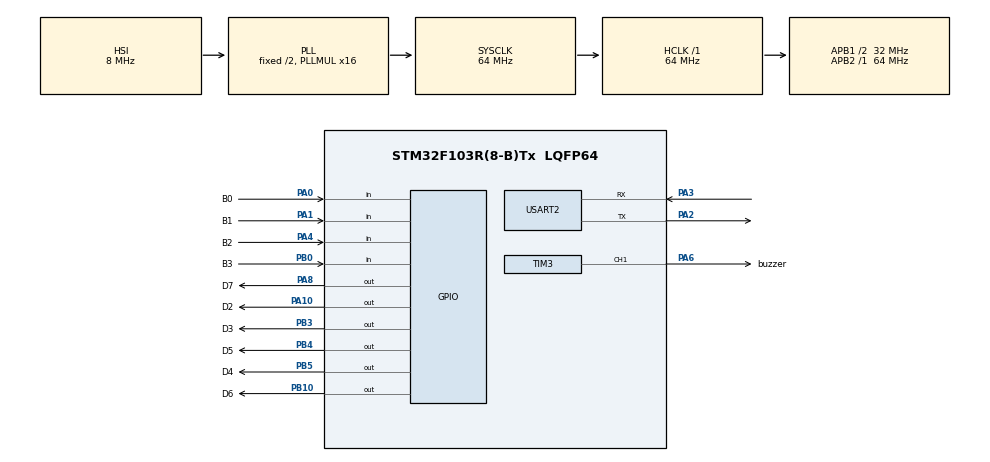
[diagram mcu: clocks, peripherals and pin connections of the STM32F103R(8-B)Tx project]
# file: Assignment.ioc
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Mcu.Family=STM32F1
Mcu.Name=STM32F103R(8-B)Tx
Mcu.Package=LQFP64
NVIC.PriorityGroup=NVIC_PRIORITYGROUP_4
NVIC.TIM2_IRQn=true\:0\:0\:false\:false\:true\:true\:true\:true
PA0-WKUP.GPIO_Label=B0
PA0-WKUP.GPIO_PuPd=GPIO_PULLUP
PA0-WKUP.Signal=GPIO_Input
PA1.GPIO_Label=B1
PA1.GPIO_PuPd=GPIO_PULLUP
PA1.Signal=GPIO_Input
PA10.GPIO_Label=D2
PA10.Signal=GPIO_Output
PA13.Mode=Serial_Wire
PA13.Signal=SYS_JTMS-SWDIO
PA14.Mode=Serial_Wire
PA14.Signal=SYS_JTCK-SWCLK
PA2.Mode=Asynchronous
PA2.Signal=USART2_TX
PA3.Mode=Asynchronous
PA3.Signal=USART2_RX
PA4.GPIO_Label=B2
PA4.GPIO_PuPd=GPIO_PULLUP
PA4.Signal=GPIO_Input
PA6.GPIO_Label=buzzer
PA6.Signal=S_TIM3_CH1
PA8.GPIO_Label=D7
PA8.Signal=GPIO_Output
PB0.GPIO_Label=B3
PB0.GPIO_PuPd=GPIO_PULLUP
PB0.Signal=GPIO_Input
PB10.GPIO_Label=D6
PB10.Signal=GPIO_Output
PB3.GPIO_Label=D3
PB3.Signal=GPIO_Output
PB4.GPIO_Label=D5
PB4.Signal=GPIO_Output
PB5.GPIO_Label=D4
PB5.Signal=GPIO_Output
ProjectManager.HeapSize=0x200
ProjectManager.StackSize=0x400
ProjectManager.TargetToolchain=STM32CubeIDE
RCC.AHBFreq_Value=64000000
RCC.APB1CLKDivider=RCC_HCLK_DIV2
RCC.APB1Freq_Value=32000000
RCC.APB1TimFreq_Value=64000000
RCC.APB2Freq_Value=64000000
RCC.APB2TimFreq_Value=64000000
RCC.HCLKFreq_Value=64000000
RCC.PLLMUL=RCC_PLL_MUL16
RCC.SYSCLKFreq_VALUE=64000000
RCC.SYSCLKSource=RCC_SYSCLKSOURCE_PLLCLK
RCC.USBFreq_Value=64000000
SH.S_TIM3_CH1.0=TIM3_CH1,PWM Generation1 CH1
TIM2.Period=9
TIM2.Prescaler=63999
TIM3.Channel-PWM\ Generation1\ CH1=TIM_CHANNEL_1
TIM3.Period=999
TIM3.Prescaler=63
USART2.VirtualMode=VM_ASYNC
VP_TIM2_VS_ClockSourceINT.Mode=Internal
VP_TIM3_VS_ClockSourceINT.Mode=Internal
board=custom

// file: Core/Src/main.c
/* USER CODE BEGIN Header */
/**
  ******************************************************************************
  * @file           : main.c
  * @brief          : Main program body
  ******************************************************************************
  * @attention
  *
  * <h2><center>&copy; Copyright (c) 2022 STMicroelectronics.
  * All rights reserved.</center></h2>
  *
  * This software component is licensed by ST under BSD 3-Clause license,
  * the "License"; You may not use this file except in compliance with the
  * License. You may obtain a copy of the License at:
  *                        opensource.org/licenses/BSD-3-Clause
  *
  ******************************************************************************
  */
/* USER CODE END Header */
#include "main.h"

/* USER CODE BEGIN Includes */
#include "software_timer.h"
#include "button.h"
#include "led_color.h"
#include "global.h"
#include "fsm_automatic.h"
#include "fsm_manual.h"
#include "fsm_setTime.h"
/* USER CODE END Includes */

TIM_HandleTypeDef htim2;
TIM_HandleTypeDef htim3;

UART_HandleTypeDef huart2;

void SystemClock_Config(void);
static void MX_GPIO_Init(void);
static void MX_TIM3_Init(void);
static void MX_TIM2_Init(void);
static void MX_USART2_UART_Init(void);

/* USER CODE BEGIN 0 */
void test_IO(){
	HAL_GPIO_WritePin(D2_GPIO_Port, D2_Pin,
			HAL_GPIO_ReadPin(B1_GPIO_Port, B1_Pin));

	HAL_GPIO_WritePin(D4_GPIO_Port, D4_Pin,
				HAL_GPIO_ReadPin(B2_GPIO_Port, B2_Pin));

	HAL_GPIO_WritePin(D6_GPIO_Port, D6_Pin,
				HAL_GPIO_ReadPin(B3_GPIO_Port, B3_Pin));

	if((HAL_GPIO_ReadPin(B0_GPIO_Port, B0_Pin)) == 1){
		__HAL_TIM_SetCompare(&htim3, TIM_CHANNEL_1, 10);
		HAL_Delay(1000);
		__HAL_TIM_SetCompare(&htim3, TIM_CHANNEL_1, 100);
//		HAL_Delay(1000);
	}
}
void buzzer()
{
	__HAL_TIM_SetCompare(&htim3, TIM_CHANNEL_1, timer_counter);
	if(timer3_flag == 1)
	{
		__HAL_TIM_SetCompare(&htim3, TIM_CHANNEL_1, timer_counter+30);
		setTimer3(500);
	}
	if(timer1_counter == 0)
	{
		__HAL_TIM_SetCompare(&htim3, TIM_CHANNEL_1, 0);
		timer_counter = 10;
	}
}
void turn_off_buzzer()
{
	__HAL_TIM_SetCompare(&htim3, TIM_CHANNEL_1, 0);
}
/* USER CODE END 0 */

int main(void)
{

  /* MCU Configuration--------------------------------------------------------*/

  /* Reset of all peripherals, Initializes the Flash interface and the Systick. */
  HAL_Init();

  /* Configure the system clock */
  SystemClock_Config();

  /* Initialize all configured peripherals */
  MX_GPIO_Init();
  MX_TIM3_Init();
  MX_TIM2_Init();
  MX_USART2_UART_Init();
  /* USER CODE BEGIN 2 */
  HAL_TIM_Base_Start_IT(&htim2);
  /* USER CODE END 2 */

  /* Infinite loop */
  /* USER CODE BEGIN WHILE */
  HAL_TIM_PWM_Start(&htim3, TIM_CHANNEL_1);
  while (1)
  {
	  fsm_automatic_run1();
	  fsm_automatic_run2();
	  fsm_manual_run();
	  fsm_setTime_run();
	  if(status == AUTO_RED || status == PEDES)
	  {
		  __HAL_TIM_SetCompare(&htim3, TIM_CHANNEL_1, timer_counter);
	  }
	  else
	  {
		  __HAL_TIM_SetCompare(&htim3, TIM_CHANNEL_1, 0);
	  }
    /* USER CODE END WHILE */

  }
}

void SystemClock_Config(void)
{
  RCC_OscInitTypeDef RCC_OscInitStruct = {0};
  RCC_ClkInitTypeDef RCC_ClkInitStruct = {0};

  /** Initializes the RCC Oscillators according to the specified parameters
  * in the RCC_OscInitTypeDef structure.
  */
  RCC_OscInitStruct.OscillatorType = RCC_OSCILLATORTYPE_HSI;
  RCC_OscInitStruct.HSIState = RCC_HSI_ON;
  RCC_OscInitStruct.HSICalibrationValue = RCC_HSICALIBRATION_DEFAULT;
  RCC_OscInitStruct.PLL.PLLState = RCC_PLL_ON;
  RCC_OscInitStruct.PLL.PLLSource = RCC_PLLSOURCE_HSI_DIV2;
  RCC_OscInitStruct.PLL.PLLMUL = RCC_PLL_MUL16;
  if (HAL_RCC_OscConfig(&RCC_OscInitStruct) != HAL_OK)
  {
    Error_Handler();
  }
  /** Initializes the CPU, AHB and APB buses clocks
  */
  RCC_ClkInitStruct.ClockType = RCC_CLOCKTYPE_HCLK|RCC_CLOCKTYPE_SYSCLK
                              |RCC_CLOCKTYPE_PCLK1|RCC_CLOCKTYPE_PCLK2;
  RCC_ClkInitStruct.SYSCLKSource = RCC_SYSCLKSOURCE_PLLCLK;
  RCC_ClkInitStruct.AHBCLKDivider = RCC_SYSCLK_DIV1;
  RCC_ClkInitStruct.APB1CLKDivider = RCC_HCLK_DIV2;
  RCC_ClkInitStruct.APB2CLKDivider = RCC_HCLK_DIV1;

  if (HAL_RCC_ClockConfig(&RCC_ClkInitStruct, FLASH_LATENCY_2) != HAL_OK)
  {
    Error_Handler();
  }
}

static void MX_TIM2_Init(void)
{

  TIM_ClockConfigTypeDef sClockSourceConfig = {0};
  TIM_MasterConfigTypeDef sMasterConfig = {0};

  htim2.Instance = TIM2;
  htim2.Init.Prescaler = 63999;
  htim2.Init.CounterMode = TIM_COUNTERMODE_UP;
  htim2.Init.Period = 9;
  htim2.Init.ClockDivision = TIM_CLOCKDIVISION_DIV1;
  htim2.Init.AutoReloadPreload = TIM_AUTORELOAD_PRELOAD_DISABLE;
  if (HAL_TIM_Base_Init(&htim2) != HAL_OK)
  {
    Error_Handler();
  }
  sClockSourceConfig.ClockSource = TIM_CLOCKSOURCE_INTERNAL;
  if (HAL_TIM_ConfigClockSource(&htim2, &sClockSourceConfig) != HAL_OK)
  {
    Error_Handler();
  }
  sMasterConfig.MasterOutputTrigger = TIM_TRGO_RESET;
  sMasterConfig.MasterSlaveMode = TIM_MASTERSLAVEMODE_DISABLE;
  if (HAL_TIMEx_MasterConfigSynchronization(&htim2, &sMasterConfig) != HAL_OK)
  {
    Error_Handler();
  }

}

static void MX_TIM3_Init(void)
{

  TIM_ClockConfigTypeDef sClockSourceConfig = {0};
  TIM_MasterConfigTypeDef sMasterConfig = {0};
  TIM_OC_InitTypeDef sConfigOC = {0};

  htim3.Instance = TIM3;
  htim3.Init.Prescaler = 63;
  htim3.Init.CounterMode = TIM_COUNTERMODE_UP;
  htim3.Init.Period = 999;
  htim3.Init.ClockDivision = TIM_CLOCKDIVISION_DIV1;
  htim3.Init.AutoReloadPreload = TIM_AUTORELOAD_PRELOAD_DISABLE;
  if (HAL_TIM_Base_Init(&htim3) != HAL_OK)
  {
    Error_Handler();
  }
  sClockSourceConfig.ClockSource = TIM_CLOCKSOURCE_INTERNAL;
  if (HAL_TIM_ConfigClockSource(&htim3, &sClockSourceConfig) != HAL_OK)
  {
    Error_Handler();
  }
  if (HAL_TIM_PWM_Init(&htim3) != HAL_OK)
  {
    Error_Handler();
  }
  sMasterConfig.MasterOutputTrigger = TIM_TRGO_RESET;
  sMasterConfig.MasterSlaveMode = TIM_MASTERSLAVEMODE_DISABLE;
  if (HAL_TIMEx_MasterConfigSynchronization(&htim3, &sMasterConfig) != HAL_OK)
  {
    Error_Handler();
  }
  sConfigOC.OCMode = TIM_OCMODE_PWM1;
  sConfigOC.Pulse = 0;
  sConfigOC.OCPolarity = TIM_OCPOLARITY_HIGH;
  sConfigOC.OCFastMode = TIM_OCFAST_DISABLE;
  if (HAL_TIM_PWM_ConfigChannel(&htim3, &sConfigOC, TIM_CHANNEL_1) != HAL_OK)
  {
    Error_Handler();
  }
  HAL_TIM_MspPostInit(&htim3);

}

static void MX_USART2_UART_Init(void)
{

  huart2.Instance = USART2;
  huart2.Init.BaudRate = 115200;
  huart2.Init.WordLength = UART_WORDLENGTH_8B;
  huart2.Init.StopBits = UART_STOPBITS_1;
  huart2.Init.Parity = UART_PARITY_NONE;
  huart2.Init.Mode = UART_MODE_TX_RX;
  huart2.Init.HwFlowCtl = UART_HWCONTROL_NONE;
  huart2.Init.OverSampling = UART_OVERSAMPLING_16;
  if (HAL_UART_Init(&huart2) != HAL_OK)
  {
    Error_Handler();
  }

}

static void MX_GPIO_Init(void)
{
  GPIO_InitTypeDef GPIO_InitStruct = {0};

  /* GPIO Ports Clock Enable */
  __HAL_RCC_GPIOA_CLK_ENABLE();
  __HAL_RCC_GPIOB_CLK_ENABLE();

  /*Configure GPIO pin Output Level */
  HAL_GPIO_WritePin(GPIOB, D6_Pin|D3_Pin|D5_Pin|D4_Pin, GPIO_PIN_RESET);

  /*Configure GPIO pin Output Level */
  HAL_GPIO_WritePin(GPIOA, D7_Pin|D2_Pin, GPIO_PIN_RESET);

  /*Configure GPIO pins : B0_Pin B1_Pin B2_Pin */
  GPIO_InitStruct.Pin = B0_Pin|B1_Pin|B2_Pin;
  GPIO_InitStruct.Mode = GPIO_MODE_INPUT;
  GPIO_InitStruct.Pull = GPIO_PULLUP;
  HAL_GPIO_Init(GPIOA, &GPIO_InitStruct);

  /*Configure GPIO pin : B3_Pin */
  GPIO_InitStruct.Pin = B3_Pin;
  GPIO_InitStruct.Mode = GPIO_MODE_INPUT;
  GPIO_InitStruct.Pull = GPIO_PULLUP;
  HAL_GPIO_Init(B3_GPIO_Port, &GPIO_InitStruct);

  /*Configure GPIO pins : D6_Pin D3_Pin D5_Pin D4_Pin */
  GPIO_InitStruct.Pin = D6_Pin|D3_Pin|D5_Pin|D4_Pin;
  GPIO_InitStruct.Mode = GPIO_MODE_OUTPUT_PP;
  GPIO_InitStruct.Pull = GPIO_NOPULL;
  GPIO_InitStruct.Speed = GPIO_SPEED_FREQ_LOW;
  HAL_GPIO_Init(GPIOB, &GPIO_InitStruct);

  /*Configure GPIO pins : D7_Pin D2_Pin */
  GPIO_InitStruct.Pin = D7_Pin|D2_Pin;
  GPIO_InitStruct.Mode = GPIO_MODE_OUTPUT_PP;
  GPIO_InitStruct.Pull = GPIO_NOPULL;
  GPIO_InitStruct.Speed = GPIO_SPEED_FREQ_LOW;
  HAL_GPIO_Init(GPIOA, &GPIO_InitStruct);

}

/* USER CODE BEGIN 4 */
void HAL_TIM_PeriodElapsedCallback(TIM_HandleTypeDef *htim){
	timerRun();
	getKeyInput();
}
/* USER CODE END 4 */

void Error_Handler(void)
{
  __disable_irq();
  while (1)
  {
  }
}

/************************ (C) COPYRIGHT STMicroelectronics *****END OF FILE****/
